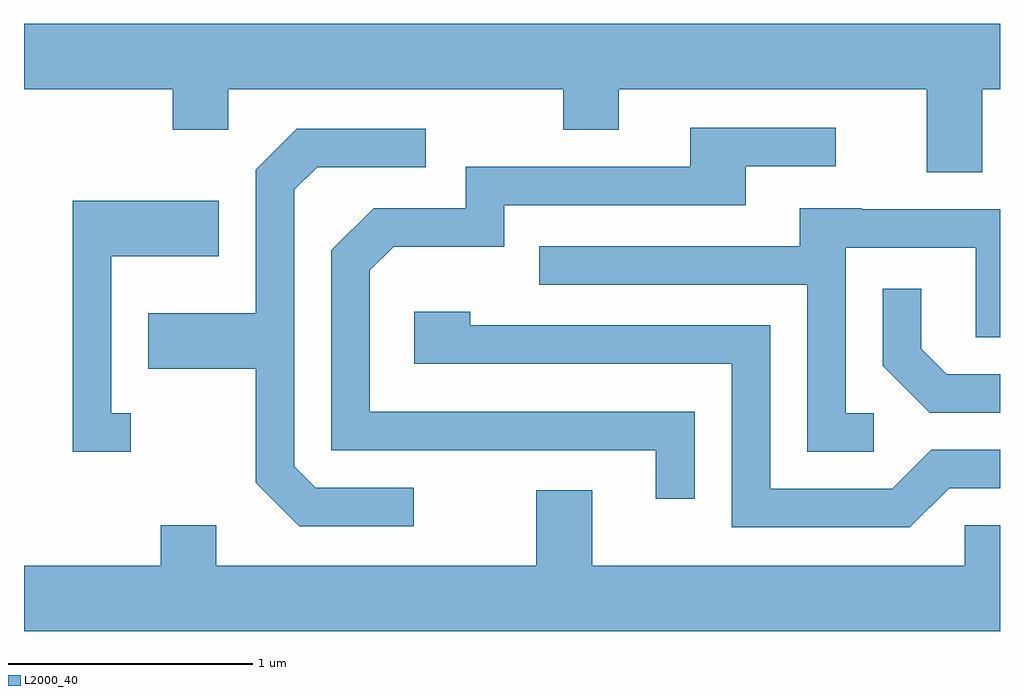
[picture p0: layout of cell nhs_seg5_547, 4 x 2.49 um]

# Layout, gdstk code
import gdstk
lib = gdstk.Library(unit=1e-6, precision=1e-09)
def P(c, l, *ps):  # polygons
    for p in ps: c.add(gdstk.Polygon(p, *l))
L2000_40 = (2000, 40)

nhs_seg5_547 = lib.new_cell('nhs_seg5_547')
P(nhs_seg5_547, L2000_40, [(205.539,1405.736),(205.611,1405.736),(205.611,1406.004),(201.611,1406.004),(201.611,1405.736),(202.221,1405.736),(202.221,1405.571),(202.449,1405.571),(202.449,1405.736),(203.821,1405.736),(203.821,1405.571),(204.049,1405.571),(204.049,1405.736),(205.311,1405.736),(205.311,1405.396),(205.539,1405.396)],
  [(204.359,1404.414),(203.029,1404.414),(203.029,1404.994),(203.127,1405.091),(203.579,1405.091),(203.579,1405.261),(204.569,1405.261),(204.569,1405.421),(204.938,1405.421),(204.938,1405.579),(204.341,1405.579),(204.341,1405.419),(203.421,1405.419),(203.421,1405.249),(203.044,1405.249),(202.871,1405.077),(202.871,1404.256),(204.201,1404.256),(204.201,1404.058),(204.359,1404.058)],
  [(203.208,1404.104),(202.807,1404.104),(202.719,1404.192),(202.719,1405.324),(202.812,1405.416),(203.258,1405.416),(203.258,1405.574),(202.729,1405.574),(202.561,1405.407),(202.561,1404.819),(202.121,1404.819),(202.121,1404.591),(202.561,1404.591),(202.561,1404.124),(202.739,1403.946),(203.208,1403.946)],
  [(202.048,1404.409),(201.969,1404.409),(201.969,1405.051),(202.409,1405.051),(202.409,1405.279),(201.811,1405.279),(201.811,1404.251),(202.048,1404.251)],
  [(205.093,1404.409),(204.979,1404.409),(204.979,1405.086),(205.511,1405.086),(205.511,1404.721),(205.611,1404.721),(205.611,1405.244),(205.045,1405.244),(205.045,1405.249),(204.791,1405.249),(204.791,1405.094),(203.723,1405.094),(203.723,1404.936),(204.821,1404.936),(204.821,1404.251),(205.093,1404.251)],
  [(205.611,1404.569),(205.392,1404.569),(205.289,1404.672),(205.289,1404.918),(205.131,1404.918),(205.131,1404.604),(205.324,1404.411),(205.611,1404.411)],
  [(205.402,1404.101),(205.611,1404.101),(205.611,1404.259),(205.329,1404.259),(205.169,1404.099),(204.669,1404.099),(204.669,1404.769),(203.439,1404.769),(203.439,1404.824),(203.211,1404.824),(203.211,1404.611),(204.511,1404.611),(204.511,1403.941),(205.242,1403.941)],
  [(205.611,1403.949),(205.466,1403.949),(205.466,1403.784),(203.939,1403.784),(203.939,1404.094),(203.711,1404.094),(203.711,1403.784),(202.399,1403.784),(202.399,1403.949),(202.171,1403.949),(202.171,1403.784),(201.611,1403.784),(201.611,1403.516),(205.611,1403.516)])

lib.write_gds('nhs_seg5_547.gds')
